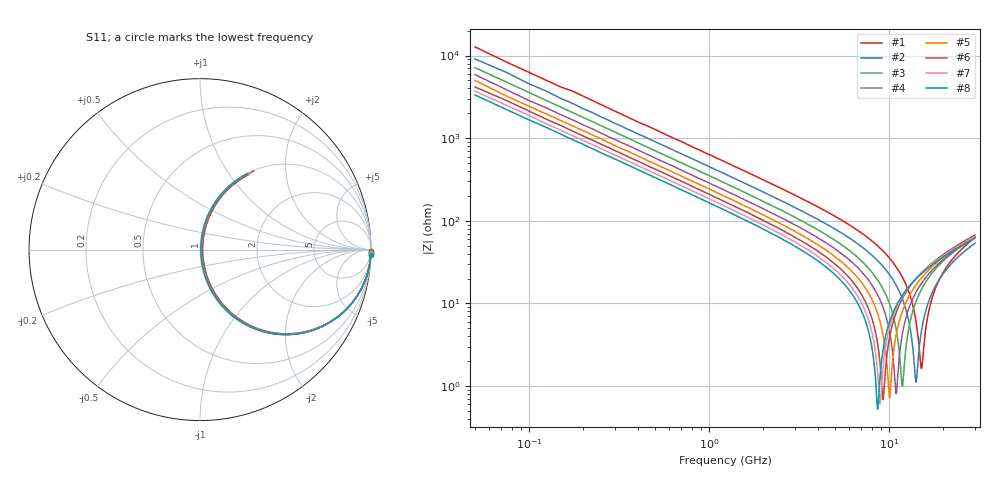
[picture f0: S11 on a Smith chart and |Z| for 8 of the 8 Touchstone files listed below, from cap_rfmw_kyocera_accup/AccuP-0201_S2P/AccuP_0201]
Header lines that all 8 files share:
!	AVX Thin Film Operation 	Date: April 2014
!	Description: Accu-P® Series, Thin Film  SMD RF Capacitor
# MHZ S MA R 50
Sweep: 50 MHz to 30 GHz
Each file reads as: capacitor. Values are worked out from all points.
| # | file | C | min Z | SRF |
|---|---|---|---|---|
| 1 | C0201SEr25.s2p | 250 fF | 1.63 ohm | 15.12 GHz |
| 2 | C0201SEr35.s2p | 350 fF | 1.11 ohm | 14.11 GHz |
| 3 | C0201SEr45.s2p | 448 fF | 992 mohm | 11.84 GHz |
| 4 | C0201SEr55.s2p | 550 fF | 806 mohm | 10.94 GHz |
| 5 | C0201SEr65.s2p | 648 fF | 724 mohm | 10.06 GHz |
| 6 | C0201SEr75.s2p | 750 fF | 686 mohm | 9.251 GHz |
| 7 | C0201SEr85.s2p | 849 fF | 605 mohm | 8.907 GHz |
| 8 | C0201SEr95.s2p | 948 fF | 525 mohm | 8.636 GHz |
